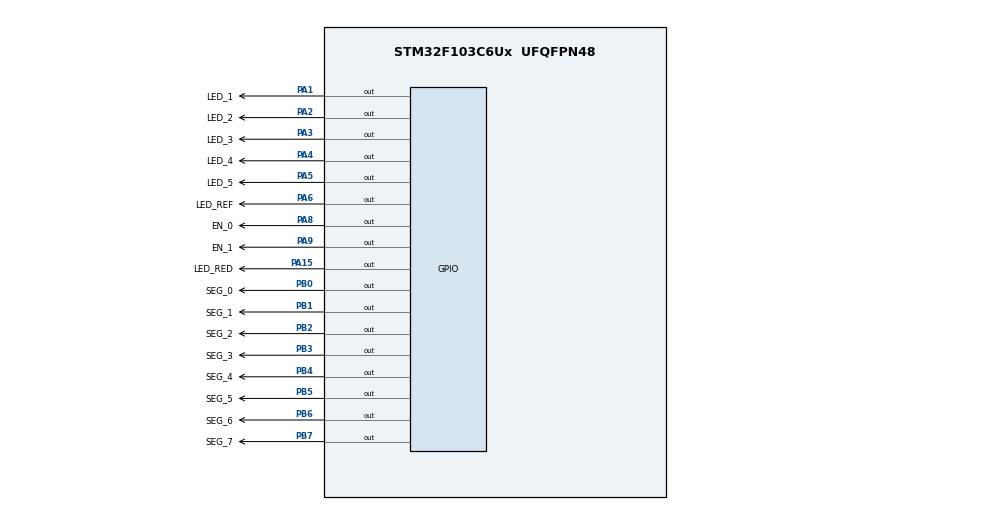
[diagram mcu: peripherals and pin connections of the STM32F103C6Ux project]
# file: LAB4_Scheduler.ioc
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Mcu.Family=STM32F1
Mcu.Name=STM32F103C6Ux
Mcu.Package=UFQFPN48
NVIC.PriorityGroup=NVIC_PRIORITYGROUP_4
NVIC.TIM2_IRQn=true\:0\:0\:false\:false\:true\:true\:true\:true
PA1.GPIO_Label=LED_1
PA1.Signal=GPIO_Output
PA13.Mode=Serial_Wire
PA13.Signal=SYS_JTMS-SWDIO
PA14.Mode=Serial_Wire
PA14.Signal=SYS_JTCK-SWCLK
PA15.GPIO_Label=LED_RED
PA15.Signal=GPIO_Output
PA2.GPIO_Label=LED_2
PA2.Signal=GPIO_Output
PA3.GPIO_Label=LED_3
PA3.Signal=GPIO_Output
PA4.GPIO_Label=LED_4
PA4.Signal=GPIO_Output
PA5.GPIO_Label=LED_5
PA5.Signal=GPIO_Output
PA6.GPIO_Label=LED_REF
PA6.Signal=GPIO_Output
PA8.GPIO_Label=EN_0
PA8.Signal=GPIO_Output
PA9.GPIO_Label=EN_1
PA9.Signal=GPIO_Output
PB0.GPIO_Label=SEG_0
PB0.Signal=GPIO_Output
PB1.GPIO_Label=SEG_1
PB1.Signal=GPIO_Output
PB2.GPIO_Label=SEG_2
PB2.Signal=GPIO_Output
PB3.GPIO_Label=SEG_3
PB3.Signal=GPIO_Output
PB4.GPIO_Label=SEG_4
PB4.Signal=GPIO_Output
PB5.GPIO_Label=SEG_5
PB5.Signal=GPIO_Output
PB6.GPIO_Label=SEG_6
PB6.Signal=GPIO_Output
PB7.GPIO_Label=SEG_7
PB7.Signal=GPIO_Output
ProjectManager.HeapSize=0x200
ProjectManager.StackSize=0x400
ProjectManager.TargetToolchain=STM32CubeIDE
RCC.APB1Freq_Value=8000000
RCC.APB2Freq_Value=8000000
TIM2.Period=9
TIM2.Prescaler=7999
VP_TIM2_VS_ClockSourceINT.Mode=Internal
board=custom

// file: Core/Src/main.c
/* USER CODE BEGIN Header */
/**
  ******************************************************************************
  * @file           : main.c
  * @brief          : Main program body
  ******************************************************************************
  * @attention
  *
  * Copyright (c) 2025 STMicroelectronics.
  * All rights reserved.
  *
  * This software is licensed under terms that can be found in the LICENSE file
  * in the root directory of this software component.
  * If no LICENSE file comes with this software, it is provided AS-IS.
  *
  ******************************************************************************
  */
/* USER CODE END Header */
#include "main.h"

/* USER CODE BEGIN Includes */
#include "scheduler.h"
#include "software_timer.h"
#include "common.h"
#include "7SEG_display.h"
/* USER CODE END Includes */

TIM_HandleTypeDef htim2;

void SystemClock_Config(void);
static void MX_GPIO_Init(void);
static void MX_TIM2_Init(void);
/* USER CODE BEGIN PFP */
void HAL_TIM_PeriodElapsedCallback(TIM_HandleTypeDef *htim);
void SCH_Dispatch_Task();
void SCH_Update(void);
/* USER CODE END PFP */

/* USER CODE BEGIN 0 */
void led1_state(){
	HAL_GPIO_TogglePin(LED_1_GPIO_Port,LED_1_Pin);
}
void led2_state(){
	HAL_GPIO_TogglePin(LED_2_GPIO_Port,LED_2_Pin);
}
void led3_state(){
	HAL_GPIO_TogglePin(LED_3_GPIO_Port,LED_3_Pin);
}
void led4_state(){
	HAL_GPIO_TogglePin(LED_4_GPIO_Port,LED_4_Pin);
}
void led5_state(){
	HAL_GPIO_TogglePin(LED_5_GPIO_Port,LED_5_Pin);
}

/* USER CODE END 0 */

int main(void)
{

  /* MCU Configuration--------------------------------------------------------*/

  /* Reset of all peripherals, Initializes the Flash interface and the Systick. */
  HAL_Init();

  /* Configure the system clock */
  SystemClock_Config();

  /* Initialize all configured peripherals */
  MX_GPIO_Init();
  MX_TIM2_Init();
  /* USER CODE BEGIN 2 */
  HAL_TIM_Base_Start_IT(&htim2);
  /* USER CODE END 2 */

  /* Infinite loop */
  /* USER CODE BEGIN WHILE */

  SCH_Add_Task(led3_state, 5000, 5000);
  SCH_Add_Task(led4_state, 7000, 7000);
  SCH_Add_Task(led5_state, 10000, 0);
  SCH_Add_Task(led1_state, 2000, 2000);
  SCH_Add_Task(led2_state, 3000, 3000);

  init7SEG();

  while (1)
  {
	  SCH_Dispatch_Task();
	  if(1){
		  display7SEG();
	  }
    /* USER CODE END WHILE */

  }
}

void SystemClock_Config(void)
{
  RCC_OscInitTypeDef RCC_OscInitStruct = {0};
  RCC_ClkInitTypeDef RCC_ClkInitStruct = {0};

  /** Initializes the RCC Oscillators according to the specified parameters
  * in the RCC_OscInitTypeDef structure.
  */
  RCC_OscInitStruct.OscillatorType = RCC_OSCILLATORTYPE_HSI;
  RCC_OscInitStruct.HSIState = RCC_HSI_ON;
  RCC_OscInitStruct.HSICalibrationValue = RCC_HSICALIBRATION_DEFAULT;
  RCC_OscInitStruct.PLL.PLLState = RCC_PLL_NONE;
  if (HAL_RCC_OscConfig(&RCC_OscInitStruct) != HAL_OK)
  {
    Error_Handler();
  }

  /** Initializes the CPU, AHB and APB buses clocks
  */
  RCC_ClkInitStruct.ClockType = RCC_CLOCKTYPE_HCLK|RCC_CLOCKTYPE_SYSCLK
                              |RCC_CLOCKTYPE_PCLK1|RCC_CLOCKTYPE_PCLK2;
  RCC_ClkInitStruct.SYSCLKSource = RCC_SYSCLKSOURCE_HSI;
  RCC_ClkInitStruct.AHBCLKDivider = RCC_SYSCLK_DIV1;
  RCC_ClkInitStruct.APB1CLKDivider = RCC_HCLK_DIV1;
  RCC_ClkInitStruct.APB2CLKDivider = RCC_HCLK_DIV1;

  if (HAL_RCC_ClockConfig(&RCC_ClkInitStruct, FLASH_LATENCY_0) != HAL_OK)
  {
    Error_Handler();
  }
}

static void MX_TIM2_Init(void)
{

  TIM_ClockConfigTypeDef sClockSourceConfig = {0};
  TIM_MasterConfigTypeDef sMasterConfig = {0};

  htim2.Instance = TIM2;
  htim2.Init.Prescaler = 7999;
  htim2.Init.CounterMode = TIM_COUNTERMODE_UP;
  htim2.Init.Period = 9;
  htim2.Init.ClockDivision = TIM_CLOCKDIVISION_DIV1;
  htim2.Init.AutoReloadPreload = TIM_AUTORELOAD_PRELOAD_DISABLE;
  if (HAL_TIM_Base_Init(&htim2) != HAL_OK)
  {
    Error_Handler();
  }
  sClockSourceConfig.ClockSource = TIM_CLOCKSOURCE_INTERNAL;
  if (HAL_TIM_ConfigClockSource(&htim2, &sClockSourceConfig) != HAL_OK)
  {
    Error_Handler();
  }
  sMasterConfig.MasterOutputTrigger = TIM_TRGO_RESET;
  sMasterConfig.MasterSlaveMode = TIM_MASTERSLAVEMODE_DISABLE;
  if (HAL_TIMEx_MasterConfigSynchronization(&htim2, &sMasterConfig) != HAL_OK)
  {
    Error_Handler();
  }

}

static void MX_GPIO_Init(void)
{
  GPIO_InitTypeDef GPIO_InitStruct = {0};

  /* GPIO Ports Clock Enable */
  __HAL_RCC_GPIOA_CLK_ENABLE();
  __HAL_RCC_GPIOB_CLK_ENABLE();

  /*Configure GPIO pin Output Level */
  HAL_GPIO_WritePin(GPIOA, LED_1_Pin|LED_2_Pin|LED_3_Pin|LED_4_Pin
                          |LED_5_Pin|LED_REF_Pin|EN_0_Pin|EN_1_Pin
                          |LED_RED_Pin, GPIO_PIN_RESET);

  /*Configure GPIO pin Output Level */
  HAL_GPIO_WritePin(GPIOB, SEG_0_Pin|SEG_1_Pin|SEG_2_Pin|SEG_3_Pin
                          |SEG_4_Pin|SEG_5_Pin|SEG_6_Pin|SEG_7_Pin, GPIO_PIN_RESET);

  /*Configure GPIO pins : LED_1_Pin LED_2_Pin LED_3_Pin LED_4_Pin
                           LED_5_Pin LED_REF_Pin EN_0_Pin EN_1_Pin
                           LED_RED_Pin */
  GPIO_InitStruct.Pin = LED_1_Pin|LED_2_Pin|LED_3_Pin|LED_4_Pin
                          |LED_5_Pin|LED_REF_Pin|EN_0_Pin|EN_1_Pin
                          |LED_RED_Pin;
  GPIO_InitStruct.Mode = GPIO_MODE_OUTPUT_PP;
  GPIO_InitStruct.Pull = GPIO_NOPULL;
  GPIO_InitStruct.Speed = GPIO_SPEED_FREQ_LOW;
  HAL_GPIO_Init(GPIOA, &GPIO_InitStruct);

  /*Configure GPIO pins : SEG_0_Pin SEG_1_Pin SEG_2_Pin SEG_3_Pin
                           SEG_4_Pin SEG_5_Pin SEG_6_Pin SEG_7_Pin */
  GPIO_InitStruct.Pin = SEG_0_Pin|SEG_1_Pin|SEG_2_Pin|SEG_3_Pin
                          |SEG_4_Pin|SEG_5_Pin|SEG_6_Pin|SEG_7_Pin;
  GPIO_InitStruct.Mode = GPIO_MODE_OUTPUT_PP;
  GPIO_InitStruct.Pull = GPIO_NOPULL;
  GPIO_InitStruct.Speed = GPIO_SPEED_FREQ_LOW;
  HAL_GPIO_Init(GPIOB, &GPIO_InitStruct);

}

/* USER CODE BEGIN 4 */
void HAL_TIM_PeriodElapsedCallback(TIM_HandleTypeDef *htim){
	SCH_Update();
	timerRun();
}
/* USER CODE END 4 */

void Error_Handler(void)
{
  __disable_irq();
  while (1)
  {
  }
}
